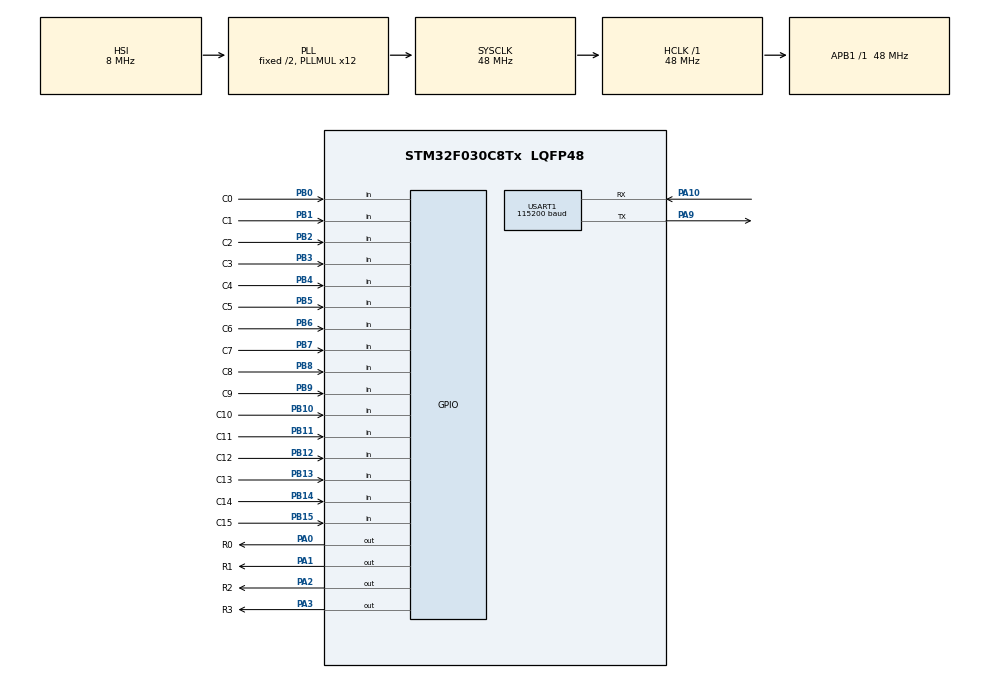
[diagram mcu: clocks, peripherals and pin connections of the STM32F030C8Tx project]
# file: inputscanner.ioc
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Mcu.Family=STM32F0
Mcu.Name=STM32F030C8Tx
Mcu.Package=LQFP48
PA0.GPIO_Label=R0
PA0.PinState=GPIO_PIN_SET
PA0.Signal=GPIO_Output
PA1.GPIO_Label=R1
PA1.PinState=GPIO_PIN_SET
PA1.Signal=GPIO_Output
PA10.Mode=Asynchronous
PA10.Signal=USART1_RX
PA13.Mode=Serial_Wire
PA13.Signal=SYS_SWDIO
PA14.Mode=Serial_Wire
PA14.Signal=SYS_SWCLK
PA2.GPIO_Label=R2
PA2.PinState=GPIO_PIN_SET
PA2.Signal=GPIO_Output
PA3.GPIO_Label=R3
PA3.PinState=GPIO_PIN_SET
PA3.Signal=GPIO_Output
PA9.Mode=Asynchronous
PA9.Signal=USART1_TX
PB0.GPIO_Label=C0
PB0.GPIO_PuPd=GPIO_PULLUP
PB0.Signal=GPIO_Input
PB1.GPIO_Label=C1
PB1.GPIO_PuPd=GPIO_PULLUP
PB1.Signal=GPIO_Input
PB10.GPIO_Label=C10
PB10.GPIO_PuPd=GPIO_PULLUP
PB10.Signal=GPIO_Input
PB11.GPIO_Label=C11
PB11.GPIO_PuPd=GPIO_PULLUP
PB11.Signal=GPIO_Input
PB12.GPIO_Label=C12
PB12.GPIO_PuPd=GPIO_PULLUP
PB12.Signal=GPIO_Input
PB13.GPIO_Label=C13
PB13.GPIO_PuPd=GPIO_PULLUP
PB13.Signal=GPIO_Input
PB14.GPIO_Label=C14
PB14.GPIO_PuPd=GPIO_PULLUP
PB14.Signal=GPIO_Input
PB15.GPIO_Label=C15
PB15.GPIO_PuPd=GPIO_PULLUP
PB15.Signal=GPIO_Input
PB2.GPIO_Label=C2
PB2.GPIO_PuPd=GPIO_PULLUP
PB2.Signal=GPIO_Input
PB3.GPIO_Label=C3
PB3.GPIO_PuPd=GPIO_PULLUP
PB3.Signal=GPIO_Input
PB4.GPIO_Label=C4
PB4.GPIO_PuPd=GPIO_PULLUP
PB4.Signal=GPIO_Input
PB5.GPIO_Label=C5
PB5.GPIO_PuPd=GPIO_PULLUP
PB5.Signal=GPIO_Input
PB6.GPIO_Label=C6
PB6.GPIO_PuPd=GPIO_PULLUP
PB6.Signal=GPIO_Input
PB7.GPIO_Label=C7
PB7.GPIO_PuPd=GPIO_PULLUP
PB7.Signal=GPIO_Input
PB8.GPIO_Label=C8
PB8.GPIO_PuPd=GPIO_PULLUP
PB8.Signal=GPIO_Input
PB9.GPIO_Label=C9
PB9.GPIO_PuPd=GPIO_PULLUP
PB9.Signal=GPIO_Input
ProjectManager.HeapSize=0x200
ProjectManager.StackSize=0x400
ProjectManager.TargetToolchain=STM32CubeIDE
RCC.AHBFreq_Value=48000000
RCC.APB1Freq_Value=48000000
RCC.APB1TimFreq_Value=48000000
RCC.HCLKFreq_Value=48000000
RCC.PLLMUL=RCC_PLL_MUL12
RCC.SYSCLKFreq_VALUE=48000000
RCC.SYSCLKSource=RCC_SYSCLKSOURCE_PLLCLK
TIM1.Period=2000
TIM1.Prescaler=48
USART1.BaudRate=115200
USART1.OverSampling=UART_OVERSAMPLING_8
USART1.VirtualMode-Asynchronous=VM_ASYNC
VP_TIM1_VS_ClockSourceINT.Mode=Internal
board=custom

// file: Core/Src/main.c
/* USER CODE BEGIN Header */
/**
  ******************************************************************************
  * @file           : main.c
  * @brief          : Main program body
  ******************************************************************************
  * @attention
  *
  * <h2><center>&copy; Copyright (c) 2021 STMicroelectronics.
  * All rights reserved.</center></h2>
  *
  * This software component is licensed by ST under BSD 3-Clause license,
  * the "License"; You may not use this file except in compliance with the
  * License. You may obtain a copy of the License at:
  *                        opensource.org/licenses/BSD-3-Clause
  *
  ******************************************************************************
  */
/* USER CODE END Header */
#include "main.h"

TIM_HandleTypeDef htim1;

UART_HandleTypeDef huart1;

/* USER CODE BEGIN PV */

#ifdef __GNUC__
#define PUTCHAR_PROTOTYPE int __io_putchar(int ch)
#else
#define PUTCHAR_PROTOTYPE int fputc(int ch, FILE *f)
#endif

PUTCHAR_PROTOTYPE {
    HAL_UART_Transmit(&huart1, (uint8_t *) &ch, 1, HAL_MAX_DELAY);
    return ch;
}

/* USER CODE END PV */

void SystemClock_Config(void);
static void MX_GPIO_Init(void);
static void MX_USART1_UART_Init(void);
static void MX_TIM1_Init(void);

/* USER CODE BEGIN 0 */
#define TYPE_BUTTON 0x80
#define TYPE_ENC 0x00
#define BUTTON_PRESS 0x40
#define BUTTON_RELEASE 0x00
#define ENCODER_FW 0x40
#define ENCODER_BW 0x00

#define CENTER (1<<6)

#define INTERVAL 500
#define BUTTON_DEBOUNCE_TIME 15

#define BUTTON_ID(x) (TYPE_BUTTON | (x + 16))
#define ENCODER_BUTTON_ID(x) (TYPE_BUTTON | (x))
#define ENCODER_ID(x) (TYPE_ENC | x)
#define BASE_ID(x) (x & ~TYPE_BUTTON)
#define INVALID_ID ((uint8_t)0xff)

#define BUTTON_STATE(in, mask) (in & mask ? BUTTON_RELEASE : BUTTON_PRESS)

#define SEND_EVENT(out) HAL_UART_Transmit(&huart1, &out, 1, 100);

static uint8_t LAG = 0xfe;

enum encoder_event {
    EE_NONE, EE_FWD, EE_BWD, EE_INVALID
};
enum encoder_event encoder_table[4][4] = {
        {EE_NONE,    EE_FWD,     EE_BWD,     EE_INVALID},
        {EE_BWD,     EE_NONE,    EE_INVALID, EE_FWD},
        {EE_FWD,     EE_INVALID, EE_NONE,    EE_BWD},
        {EE_INVALID, EE_BWD,     EE_FWD,     EE_NONE}
};

const uint8_t id_table[4][16] = {
        {BUTTON_ID(0), BUTTON_ID(1), BUTTON_ID(2), BUTTON_ID(3), BUTTON_ID(4), BUTTON_ID(5), BUTTON_ID(6), BUTTON_ID(7), BUTTON_ID(8), BUTTON_ID(9), BUTTON_ID(10), BUTTON_ID(11), BUTTON_ID(12), INVALID_ID, ENCODER_ID(0), ENCODER_ID(0)},
        {INVALID_ID, BUTTON_ID(13), BUTTON_ID(14), BUTTON_ID(15), BUTTON_ID(16), BUTTON_ID(17), BUTTON_ID(18), BUTTON_ID(19), ENCODER_BUTTON_ID(0), ENCODER_BUTTON_ID(1), ENCODER_BUTTON_ID(2), ENCODER_BUTTON_ID(3), ENCODER_BUTTON_ID(4), ENCODER_BUTTON_ID(5), ENCODER_BUTTON_ID(6), ENCODER_BUTTON_ID(7)},
        {ENCODER_ID(1), ENCODER_ID(1), ENCODER_ID(2), ENCODER_ID(2), ENCODER_ID(3), ENCODER_ID(3), ENCODER_ID(4), ENCODER_ID(4), ENCODER_ID(5), ENCODER_ID(5), ENCODER_ID(6), ENCODER_ID(6), ENCODER_ID(7), ENCODER_ID(7), ENCODER_ID(8), ENCODER_ID(8)},
        {ENCODER_ID(9), ENCODER_ID(9), BUTTON_ID(20), BUTTON_ID(21), BUTTON_ID(22), BUTTON_ID(23), BUTTON_ID(24), INVALID_ID, ENCODER_ID(10), ENCODER_ID(10), BUTTON_ID(25), BUTTON_ID(26), BUTTON_ID(27), BUTTON_ID(28), BUTTON_ID(29), INVALID_ID}
};

uint8_t enc_locks[9] = {};
#define encoder_lock(x) enc_locks[BASE_ID(x)]

static inline enum encoder_event decode_encoder(uint16_t in, uint16_t state, int shift){
    return encoder_table[(state >> shift) & 0x3][(in >> shift) & 0x3];
}

static inline void scan_row_0(){
    //static uint8_t button_locks[13];
    static uint16_t previous;

    uint16_t in = GPIOB->IDR;

    //strobe the next row ASAP to give it time to settle
    GPIOA->ODR = 0b1101;

    uint16_t edges = in ^ previous;
    //Scan 12 buttons

    for (int i = 0; i < 13; i++) {
        int mask = 1 << i;
        if (edges & mask) {
            uint8_t out = id_table[0][i] | BUTTON_STATE(in, mask);
            SEND_EVENT(out);
            //button_locks[i] = BUTTON_DEBOUNCE_TIME;
        }
    }

    //Scan 1 encoder
    int i = 14;
    uint8_t id = id_table[0][i];
    if (encoder_lock(id)) {
        encoder_lock(id)--;
    } else {
        switch(decode_encoder(in, previous, i)){
            case EE_FWD: {
                uint8_t out = id | ENCODER_FW;// | 0
                SEND_EVENT(out);
            }
                break;
            case EE_BWD: {
                uint8_t out = id | ENCODER_BW;// | 0
                SEND_EVENT(out);
            }
                break;
            case EE_NONE:
            case EE_INVALID:
                break;
        }
    }
    previous = in;
}

static inline void scan_row_1(){
    static uint16_t previous;
    uint16_t in = GPIOB->IDR;
    GPIOA->ODR = 0b1011;
    uint16_t edges = in ^ previous;
    previous = in;

    for (int i = 1; i < 7; i++) {
        int mask = 1 << i;
        if (edges & mask) {
            uint8_t out = id_table[1][i] | BUTTON_STATE(in, mask);
            SEND_EVENT(out);
        }
    }

    //Scan encoder buttons
    for (int i = 7; i < 16; i++) {
        int mask = 1 << i;
        if (edges & mask) {
            //This corresponds to the ID of the associated encoder...
            uint8_t id = id_table[1][i];
            uint8_t out = id | BUTTON_STATE(in, mask);
            SEND_EVENT(out);
            //...therefore we can use it to lock that encoder for a while
            encoder_lock(id) = 10;
        }
    }
    previous = in;
}

static inline void scan_row_2(){
    static uint16_t previous;
    uint16_t in = GPIOB->IDR;;
    uint16_t edges = in ^ previous;

    GPIOA->ODR = 0b0111;

    for (uint8_t i = 16; i < 6; i+= 2) {
        uint8_t id = id_table[2][i];
        if (encoder_lock(id)) {
            encoder_lock(id)--;
        } else {
            switch(decode_encoder(in, previous, i)){
                case EE_NONE:
                    break;
                case EE_FWD: {
                    uint8_t out = TYPE_ENC | ENCODER_FW | (i + 1);
                    SEND_EVENT(out);
                }
                    break;
                case EE_BWD: {
                    uint8_t out = TYPE_ENC | ENCODER_BW | (i + 1);
                    SEND_EVENT(out);
                }
                    break;
                case EE_INVALID:
                    break;
            }
        }
    }
    previous = in;
}

static inline void scan_row_3(){
    static uint16_t previous;
    uint16_t in = GPIOB->IDR;
    uint16_t edges = in ^ previous;
    GPIOA->ODR = 0b1110;
    //The encoders move 2 times per click so we need to keep track of that
    static int8_t joyenc_steps[2];

    for (int k = 0; k < 2; k ++) {
        int i = k * 8;
        uint8_t encoder_id = id_table[3][i];
        //First two pins are the encoder
        switch (decode_encoder(in, previous, i)) {
            case EE_FWD: {
                if (joyenc_steps[k] >= 2) {
                    uint8_t out = encoder_id | ENCODER_BW;
                    HAL_UART_Transmit(&huart1, &out, 1, 100);
                    joyenc_steps[k] = 0;
                }
            }
                break;
            case EE_BWD: {
                joyenc_steps[k]--;
                if (joyenc_steps[k] <= -2) {
                    uint8_t out = encoder_id | ENCODER_FW;
                    SEND_EVENT(out);
                    joyenc_steps[k] = 0;
                }
            }
                break;
            case EE_NONE:
            case EE_INVALID:
                break;
        }
        const int center_index = i + 6;
        //Check if a direction is currently depressed. If it is, that will be the input ID we send out, otherwise it will be the center button's ID
        int direction = center_index;
        for(int x = 2; x < 6; x++){
            int mask = (1 << (i + x));
            //if the direction is low, that means it's being pressed
            if((in & mask) == 0){
                direction = i+x;
            }
        }
        int id = id_table[3][direction];
        int center_mask = 1 << center_index;
        //only edges on the center button trigger an action
        if(edges & (center_mask)){
            uint8_t out = id | BUTTON_STATE(in, center_mask);
            SEND_EVENT(out);
        }
    }
    previous = in;
}

/* USER CODE END 0 */

int main(void)
{

  /* MCU Configuration--------------------------------------------------------*/

  /* Reset of all peripherals, Initializes the Flash interface and the Systick. */
  HAL_Init();

  /* Configure the system clock */
  SystemClock_Config();

  /* Initialize all configured peripherals */
  MX_GPIO_Init();
  MX_USART1_UART_Init();
  MX_TIM1_Init();

  /* Infinite loop */
  /* USER CODE BEGIN WHILE */

    GPIOA->ODR = 0b1110;
    HAL_Delay(1);
    HAL_TIM_Base_Start(&htim1);

    while (1) {
        scan_row_0();
        //wait for the minimum strobe interval to pass
        if (__HAL_TIM_GET_COUNTER(&htim1) > INTERVAL) HAL_UART_Transmit(&huart1, &LAG, 1, 100);;
        while (__HAL_TIM_GET_COUNTER(&htim1) < INTERVAL);

        scan_row_1();

        if (__HAL_TIM_GET_COUNTER(&htim1) > 2 * INTERVAL) HAL_UART_Transmit(&huart1, &LAG, 1, 100);;
        while (__HAL_TIM_GET_COUNTER(&htim1) < 2 * INTERVAL);

        scan_row_2();

        if (__HAL_TIM_GET_COUNTER(&htim1) > 3 * INTERVAL) HAL_UART_Transmit(&huart1, &LAG, 1, 100);;
        while (__HAL_TIM_GET_COUNTER(&htim1) < 3 * INTERVAL);

        scan_row_3();

        //instead of waiting for 4*INTERVAL, we're waiting for the timer to wrap back to 0
        if (__HAL_TIM_GET_COUNTER(&htim1) < 3 * INTERVAL) HAL_UART_Transmit(&huart1, &LAG, 1, 100);
        while (__HAL_TIM_GET_COUNTER(&htim1) >= 3 * INTERVAL);
    }
    /* USER CODE END WHILE */

    /* USER CODE BEGIN 3 */
    //}
  /* USER CODE END 3 */
}

void SystemClock_Config(void)
{
  RCC_OscInitTypeDef RCC_OscInitStruct = {0};
  RCC_ClkInitTypeDef RCC_ClkInitStruct = {0};
  RCC_PeriphCLKInitTypeDef PeriphClkInit = {0};

  /** Initializes the RCC Oscillators according to the specified parameters
  * in the RCC_OscInitTypeDef structure.
  */
  RCC_OscInitStruct.OscillatorType = RCC_OSCILLATORTYPE_HSI;
  RCC_OscInitStruct.HSIState = RCC_HSI_ON;
  RCC_OscInitStruct.HSICalibrationValue = RCC_HSICALIBRATION_DEFAULT;
  RCC_OscInitStruct.PLL.PLLState = RCC_PLL_ON;
  RCC_OscInitStruct.PLL.PLLSource = RCC_PLLSOURCE_HSI;
  RCC_OscInitStruct.PLL.PLLMUL = RCC_PLL_MUL12;
  RCC_OscInitStruct.PLL.PREDIV = RCC_PREDIV_DIV1;
  if (HAL_RCC_OscConfig(&RCC_OscInitStruct) != HAL_OK)
  {
    Error_Handler();
  }

  /** Initializes the CPU, AHB and APB buses clocks
  */
  RCC_ClkInitStruct.ClockType = RCC_CLOCKTYPE_HCLK|RCC_CLOCKTYPE_SYSCLK
                              |RCC_CLOCKTYPE_PCLK1;
  RCC_ClkInitStruct.SYSCLKSource = RCC_SYSCLKSOURCE_PLLCLK;
  RCC_ClkInitStruct.AHBCLKDivider = RCC_SYSCLK_DIV1;
  RCC_ClkInitStruct.APB1CLKDivider = RCC_HCLK_DIV1;

  if (HAL_RCC_ClockConfig(&RCC_ClkInitStruct, FLASH_LATENCY_1) != HAL_OK)
  {
    Error_Handler();
  }
  PeriphClkInit.PeriphClockSelection = RCC_PERIPHCLK_USART1;
  PeriphClkInit.Usart1ClockSelection = RCC_USART1CLKSOURCE_PCLK1;
  if (HAL_RCCEx_PeriphCLKConfig(&PeriphClkInit) != HAL_OK)
  {
    Error_Handler();
  }
}

static void MX_TIM1_Init(void)
{

  TIM_ClockConfigTypeDef sClockSourceConfig = {0};
  TIM_MasterConfigTypeDef sMasterConfig = {0};

  htim1.Instance = TIM1;
  htim1.Init.Prescaler = 48;
  htim1.Init.CounterMode = TIM_COUNTERMODE_UP;
  htim1.Init.Period = 2000;
  htim1.Init.ClockDivision = TIM_CLOCKDIVISION_DIV1;
  htim1.Init.RepetitionCounter = 0;
  htim1.Init.AutoReloadPreload = TIM_AUTORELOAD_PRELOAD_DISABLE;
  if (HAL_TIM_Base_Init(&htim1) != HAL_OK)
  {
    Error_Handler();
  }
  sClockSourceConfig.ClockSource = TIM_CLOCKSOURCE_INTERNAL;
  if (HAL_TIM_ConfigClockSource(&htim1, &sClockSourceConfig) != HAL_OK)
  {
    Error_Handler();
  }
  sMasterConfig.MasterOutputTrigger = TIM_TRGO_RESET;
  sMasterConfig.MasterSlaveMode = TIM_MASTERSLAVEMODE_DISABLE;
  if (HAL_TIMEx_MasterConfigSynchronization(&htim1, &sMasterConfig) != HAL_OK)
  {
    Error_Handler();
  }

}

static void MX_USART1_UART_Init(void)
{

  huart1.Instance = USART1;
  huart1.Init.BaudRate = 115200;
  huart1.Init.WordLength = UART_WORDLENGTH_8B;
  huart1.Init.StopBits = UART_STOPBITS_1;
  huart1.Init.Parity = UART_PARITY_NONE;
  huart1.Init.Mode = UART_MODE_TX_RX;
  huart1.Init.HwFlowCtl = UART_HWCONTROL_NONE;
  huart1.Init.OverSampling = UART_OVERSAMPLING_8;
  huart1.Init.OneBitSampling = UART_ONE_BIT_SAMPLE_DISABLE;
  huart1.AdvancedInit.AdvFeatureInit = UART_ADVFEATURE_NO_INIT;
  if (HAL_UART_Init(&huart1) != HAL_OK)
  {
    Error_Handler();
  }

}

static void MX_GPIO_Init(void)
{
  GPIO_InitTypeDef GPIO_InitStruct = {0};

  /* GPIO Ports Clock Enable */
  __HAL_RCC_GPIOA_CLK_ENABLE();
  __HAL_RCC_GPIOB_CLK_ENABLE();

  /*Configure GPIO pin Output Level */
  HAL_GPIO_WritePin(GPIOA, R0_Pin|R1_Pin|R2_Pin|R3_Pin, GPIO_PIN_SET);

  /*Configure GPIO pins : R0_Pin R1_Pin R2_Pin R3_Pin */
  GPIO_InitStruct.Pin = R0_Pin|R1_Pin|R2_Pin|R3_Pin;
  GPIO_InitStruct.Mode = GPIO_MODE_OUTPUT_PP;
  GPIO_InitStruct.Pull = GPIO_NOPULL;
  GPIO_InitStruct.Speed = GPIO_SPEED_FREQ_LOW;
  HAL_GPIO_Init(GPIOA, &GPIO_InitStruct);

  /*Configure GPIO pins : C0_Pin C1_Pin C2_Pin C10_Pin
                           C11_Pin C12_Pin C13_Pin C14_Pin
                           C15_Pin C3_Pin C4_Pin C5_Pin
                           C6_Pin C7_Pin C8_Pin C9_Pin */
  GPIO_InitStruct.Pin = C0_Pin|C1_Pin|C2_Pin|C10_Pin
                          |C11_Pin|C12_Pin|C13_Pin|C14_Pin
                          |C15_Pin|C3_Pin|C4_Pin|C5_Pin
                          |C6_Pin|C7_Pin|C8_Pin|C9_Pin;
  GPIO_InitStruct.Mode = GPIO_MODE_INPUT;
  GPIO_InitStruct.Pull = GPIO_PULLUP;
  HAL_GPIO_Init(GPIOB, &GPIO_InitStruct);

}

void Error_Handler(void)
{
    __disable_irq();
    while (1) {
    }
}
